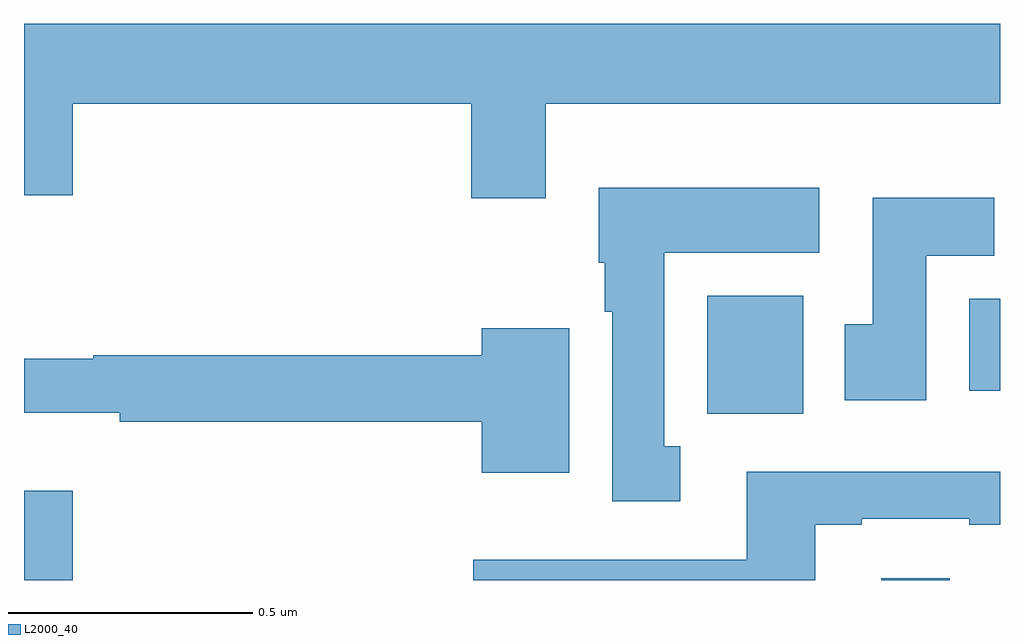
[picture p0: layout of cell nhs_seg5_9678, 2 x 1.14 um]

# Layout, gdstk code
import gdstk
lib = gdstk.Library(unit=1e-6, precision=1e-09)
def R(c, l, rs):  # rectangles x0, y0, x1, y1
    for r in rs: c.add(gdstk.rectangle(r[:2], r[2:], *l))
def P(c, l, *ps):  # polygons
    for p in ps: c.add(gdstk.Polygon(p, *l))
L2000_40 = (2000, 40)

nhs_seg5_9678 = lib.new_cell('nhs_seg5_9678')
R(nhs_seg5_9678, L2000_40, [(237,839.799,237.1,839.983), (238.757,839.799,238.897,839.803), (238.4,840.14,238.597,840.382), (238.937,840.188,239,840.376)])
P(nhs_seg5_9678, L2000_40, [(238.069,840.776),(239,840.776),(239,840.94),(237,840.94),(237,840.588),(237.1,840.588),(237.1,840.776),(237.917,840.776),(237.917,840.582),(238.069,840.582)],
  [(238.345,840.074),(238.312,840.074),(238.312,840.47),(238.63,840.47),(238.63,840.604),(238.178,840.604),(238.178,840.45),(238.19,840.45),(238.19,840.35),(238.205,840.35),(238.205,839.961),(238.345,839.961)],
  [(238.849,840.464),(238.988,840.464),(238.988,840.583),(238.739,840.583),(238.739,840.324),(238.682,840.324),(238.682,840.168),(238.849,840.168)],
  [(238.117,840.316),(237.938,840.316),(237.938,840.26),(237.142,840.26),(237.142,840.253),(237,840.253),(237,840.143),(237.196,840.143),(237.196,840.124),(237.938,840.124),(237.938,840.02),(238.117,840.02)],
  [(238.621,839.913),(238.717,839.913),(238.717,839.925),(238.937,839.925),(238.937,839.913),(239,839.913),(239,840.022),(238.481,840.022),(238.481,839.841),(237.921,839.841),(237.921,839.799),(238.621,839.799)])

lib.write_gds('nhs_seg5_9678.gds')
